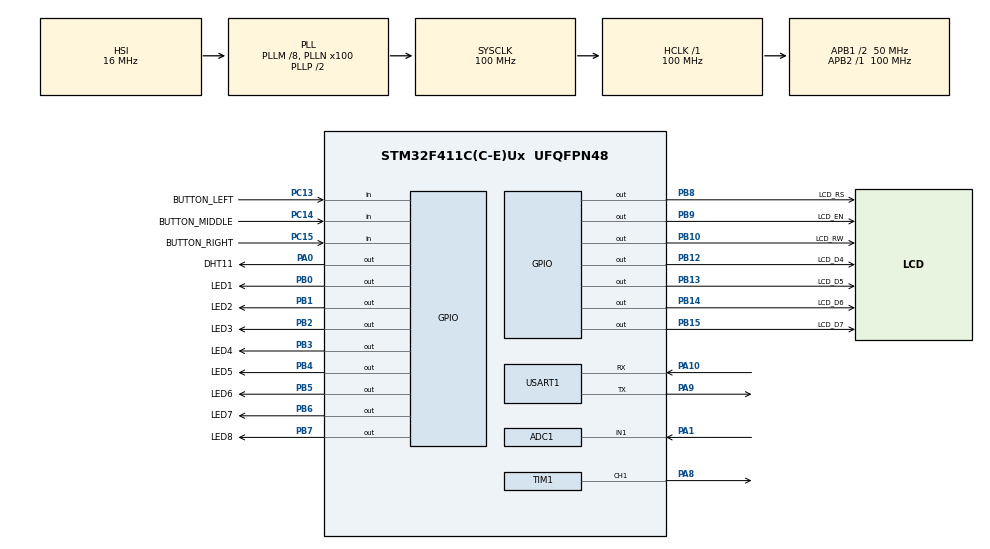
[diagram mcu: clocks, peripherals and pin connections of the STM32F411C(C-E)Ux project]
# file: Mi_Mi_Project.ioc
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ADC1.Channel-0\#ChannelRegularConversion=ADC_CHANNEL_1
ADC1.ContinuousConvMode=ENABLE
ADC1.NbrOfConversionFlag=1
ADC1.Rank-0\#ChannelRegularConversion=1
ADC1.SamplingTime-0\#ChannelRegularConversion=ADC_SAMPLETIME_480CYCLES
ADC1.ScanConvMode=DISABLE
ADC1.master=1
Mcu.Family=STM32F4
Mcu.Name=STM32F411C(C-E)Ux
Mcu.Package=UFQFPN48
NVIC.PriorityGroup=NVIC_PRIORITYGROUP_4
NVIC.USART1_IRQn=true\:1\:0\:true\:false\:true\:true\:true\:true
PA0-WKUP.GPIO_Label=DHT11
PA0-WKUP.GPIO_ModeDefaultOutputPP=GPIO_MODE_OUTPUT_PP
PA0-WKUP.GPIO_PuPd=GPIO_NOPULL
PA0-WKUP.GPIO_Speed=GPIO_SPEED_FREQ_MEDIUM
PA0-WKUP.PinState=GPIO_PIN_RESET
PA0-WKUP.Signal=GPIO_Output
PA1.Signal=ADCx_IN1
PA10.Mode=Asynchronous
PA10.Signal=USART1_RX
PA13.Mode=Serial_Wire
PA13.Signal=SYS_JTMS-SWDIO
PA14.Mode=Serial_Wire
PA14.Signal=SYS_JTCK-SWCLK
PA8.Signal=S_TIM1_CH1
PA9.Mode=Asynchronous
PA9.Signal=USART1_TX
PB0.GPIO_Label=LED1
PB0.GPIO_ModeDefaultOutputPP=GPIO_MODE_OUTPUT_PP
PB0.GPIO_PuPd=GPIO_NOPULL
PB0.GPIO_Speed=GPIO_SPEED_FREQ_MEDIUM
PB0.PinState=GPIO_PIN_RESET
PB0.Signal=GPIO_Output
PB1.GPIO_Label=LED2
PB1.GPIO_ModeDefaultOutputPP=GPIO_MODE_OUTPUT_PP
PB1.GPIO_PuPd=GPIO_NOPULL
PB1.GPIO_Speed=GPIO_SPEED_FREQ_MEDIUM
PB1.PinState=GPIO_PIN_RESET
PB1.Signal=GPIO_Output
PB10.GPIO_Label=LCD_RW
PB10.GPIO_ModeDefaultOutputPP=GPIO_MODE_OUTPUT_PP
PB10.GPIO_PuPd=GPIO_NOPULL
PB10.GPIO_Speed=GPIO_SPEED_FREQ_MEDIUM
PB10.PinState=GPIO_PIN_RESET
PB10.Signal=GPIO_Output
PB12.GPIO_Label=LCD_D4
PB12.GPIO_ModeDefaultOutputPP=GPIO_MODE_OUTPUT_PP
PB12.GPIO_PuPd=GPIO_NOPULL
PB12.GPIO_Speed=GPIO_SPEED_FREQ_MEDIUM
PB12.PinState=GPIO_PIN_RESET
PB12.Signal=GPIO_Output
PB13.GPIO_Label=LCD_D5
PB13.GPIO_ModeDefaultOutputPP=GPIO_MODE_OUTPUT_PP
PB13.GPIO_PuPd=GPIO_NOPULL
PB13.GPIO_Speed=GPIO_SPEED_FREQ_MEDIUM
PB13.PinState=GPIO_PIN_RESET
PB13.Signal=GPIO_Output
PB14.GPIO_Label=LCD_D6
PB14.GPIO_ModeDefaultOutputPP=GPIO_MODE_OUTPUT_PP
PB14.GPIO_PuPd=GPIO_NOPULL
PB14.GPIO_Speed=GPIO_SPEED_FREQ_MEDIUM
PB14.PinState=GPIO_PIN_RESET
PB14.Signal=GPIO_Output
PB15.GPIO_Label=LCD_D7
PB15.GPIO_ModeDefaultOutputPP=GPIO_MODE_OUTPUT_PP
PB15.GPIO_PuPd=GPIO_NOPULL
PB15.GPIO_Speed=GPIO_SPEED_FREQ_MEDIUM
PB15.PinState=GPIO_PIN_RESET
PB15.Signal=GPIO_Output
PB2.GPIO_Label=LED3
PB2.GPIO_ModeDefaultOutputPP=GPIO_MODE_OUTPUT_PP
PB2.GPIO_PuPd=GPIO_NOPULL
PB2.GPIO_Speed=GPIO_SPEED_FREQ_MEDIUM
PB2.PinState=GPIO_PIN_RESET
PB2.Signal=GPIO_Output
PB3.GPIO_Label=LED4
PB3.GPIO_ModeDefaultOutputPP=GPIO_MODE_OUTPUT_PP
PB3.GPIO_PuPd=GPIO_NOPULL
PB3.GPIO_Speed=GPIO_SPEED_FREQ_MEDIUM
PB3.PinState=GPIO_PIN_RESET
PB3.Signal=GPIO_Output
PB4.GPIO_Label=LED5
PB4.GPIO_ModeDefaultOutputPP=GPIO_MODE_OUTPUT_PP
PB4.GPIO_PuPd=GPIO_NOPULL
PB4.GPIO_Speed=GPIO_SPEED_FREQ_MEDIUM
PB4.PinState=GPIO_PIN_RESET
PB4.Signal=GPIO_Output
PB5.GPIO_Label=LED6
PB5.GPIO_ModeDefaultOutputPP=GPIO_MODE_OUTPUT_PP
PB5.GPIO_PuPd=GPIO_NOPULL
PB5.GPIO_Speed=GPIO_SPEED_FREQ_MEDIUM
PB5.PinState=GPIO_PIN_RESET
PB5.Signal=GPIO_Output
PB6.GPIO_Label=LED7
PB6.GPIO_ModeDefaultOutputPP=GPIO_MODE_OUTPUT_PP
PB6.GPIO_PuPd=GPIO_NOPULL
PB6.GPIO_Speed=GPIO_SPEED_FREQ_MEDIUM
PB6.PinState=GPIO_PIN_RESET
PB6.Signal=GPIO_Output
PB7.GPIO_Label=LED8
PB7.GPIO_ModeDefaultOutputPP=GPIO_MODE_OUTPUT_PP
PB7.GPIO_PuPd=GPIO_NOPULL
PB7.GPIO_Speed=GPIO_SPEED_FREQ_MEDIUM
PB7.PinState=GPIO_PIN_RESET
PB7.Signal=GPIO_Output
PB8.GPIO_Label=LCD_RS
PB8.GPIO_ModeDefaultOutputPP=GPIO_MODE_OUTPUT_PP
PB8.GPIO_PuPd=GPIO_NOPULL
PB8.GPIO_Speed=GPIO_SPEED_FREQ_MEDIUM
PB8.PinState=GPIO_PIN_RESET
PB8.Signal=GPIO_Output
PB9.GPIO_Label=LCD_EN
PB9.GPIO_ModeDefaultOutputPP=GPIO_MODE_OUTPUT_PP
PB9.GPIO_PuPd=GPIO_NOPULL
PB9.GPIO_Speed=GPIO_SPEED_FREQ_MEDIUM
PB9.PinState=GPIO_PIN_RESET
PB9.Signal=GPIO_Output
PC13-ANTI_TAMP.GPIO_Label=BUTTON_LEFT
PC13-ANTI_TAMP.GPIO_Mode=GPIO_MODE_INPUT
PC13-ANTI_TAMP.GPIO_PuPd=GPIO_PULLUP
PC13-ANTI_TAMP.Signal=GPIO_Input
PC14-OSC32_IN.GPIO_Label=BUTTON_MIDDLE
PC14-OSC32_IN.GPIO_Mode=GPIO_MODE_INPUT
PC14-OSC32_IN.GPIO_PuPd=GPIO_PULLUP
PC14-OSC32_IN.Signal=GPIO_Input
PC15-OSC32_OUT.GPIO_Label=BUTTON_RIGHT
PC15-OSC32_OUT.GPIO_Mode=GPIO_MODE_INPUT
PC15-OSC32_OUT.GPIO_PuPd=GPIO_PULLUP
PC15-OSC32_OUT.Signal=GPIO_Input
PH0\ -\ OSC_IN.Mode=HSE-External-Oscillator
PH0\ -\ OSC_IN.Signal=RCC_OSC_IN
PH1\ -\ OSC_OUT.Mode=HSE-External-Oscillator
PH1\ -\ OSC_OUT.Signal=RCC_OSC_OUT
ProjectManager.HeapSize=0x200
ProjectManager.StackSize=0x400
ProjectManager.TargetToolchain=STM32CubeIDE
RCC.48MHZClocksFreq_Value=50000000
RCC.AHBFreq_Value=100000000
RCC.APB1CLKDivider=RCC_HCLK_DIV2
RCC.APB1Freq_Value=50000000
RCC.APB1TimFreq_Value=100000000
RCC.APB2Freq_Value=100000000
RCC.APB2TimFreq_Value=100000000
RCC.CortexFreq_Value=100000000
RCC.HCLKFreq_Value=100000000
RCC.HSE_VALUE=25000000
RCC.HSI_VALUE=16000000
RCC.LSE_VALUE=32768
RCC.PLLM=8
RCC.PLLN=100
RCC.SYSCLKFreq_VALUE=100000000
RCC.SYSCLKSource=RCC_SYSCLKSOURCE_PLLCLK
RCC.VCOOutputFreq_Value=200000000
SH.ADCx_IN1.0=ADC1_IN1,IN1
SH.S_TIM1_CH1.0=TIM1_CH1,PWM Generation1 CH1
TIM1.Channel-PWM\ Generation1\ CH1=TIM_CHANNEL_1
TIM1.Period=4999
TIM1.Prescaler=0
TIM3.Prescaler=99
USART1.VirtualMode=VM_ASYNC
VP_TIM3_VS_ClockSourceINT.Mode=Internal
board=custom

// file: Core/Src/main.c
/* USER CODE BEGIN Header */
/**
 ******************************************************************************
 * @file           : main.c
 * @brief          : Main program body
 ******************************************************************************
 * @attention
 *
 * Copyright (c) 2025 STMicroelectronics.
 * All rights reserved.
 *
 * This software is licensed under terms that can be found in the LICENSE file
 * in the root directory of this software component.
 * If no LICENSE file comes with this software, it is provided AS-IS.
 *
 ******************************************************************************
 */
/* USER CODE END Header */
#include "main.h"

/* USER CODE BEGIN Includes */
#include "uart.h"
#include "lcd_no_i2c.h"
#include "button.h"
#include "dht11.h"
#include "fan.h"
#include "led.h"
#include "lm35.h"
/* USER CODE END Includes */

ADC_HandleTypeDef hadc1;

TIM_HandleTypeDef htim1;
TIM_HandleTypeDef htim3;

UART_HandleTypeDef huart1;

/* USER CODE BEGIN PV */
LM35_Typedef lm35;
LCD_Typedef lcd = {
		.lcd_port = LCD_PORT,
		.en = LCD_EN_Pin,
		.rs = LCD_RS_Pin,
		.rw = LCD_RW_Pin,
		.d4 = LCD_D4_Pin,
		.d5 = LCD_D5_Pin,
		.d6 = LCD_D6_Pin,
		.d7 = LCD_D7_Pin
};
/* USER CODE END PV */

void SystemClock_Config(void);
static void MX_GPIO_Init(void);
static void MX_TIM1_Init(void);
static void MX_TIM3_Init(void);
static void MX_USART1_UART_Init(void);
static void MX_ADC1_Init(void);

/* USER CODE BEGIN 0 */
typedef enum{
	CHANGE_TEMP_SET,
	CHANGE_SPEED_FAN,
	IDLE
} Mode_Changing;

float fan_speed = 0;
Mode_Changing mode = IDLE;
float temperature_set = 0;
bool flag_display_data = false;
bool is_manual_control = false;
uint32_t time_delay_dht11 = 0;
float temperature_current = 0;
float hum_current = 0;

void set_temperature(float value){
	temperature_set = value;
}

void display_mode(){
	static uint32_t time_blink = 0;
	if(mode != IDLE && HAL_GetTick() - time_blink >= 500){
		switch(mode){
		case CHANGE_SPEED_FAN:
			lcd_gotoxy(&lcd, 12, 1);
			if(flag_display_data) lcd_sendstring(&lcd, "    ");
			else lcd_sendnumber(&lcd, fan_speed);
			break;
		case CHANGE_TEMP_SET:
			lcd_gotoxy(&lcd, 6, 1);
			if(flag_display_data) lcd_sendstring(&lcd, "    ");
			else lcd_sendnumber(&lcd, temperature_set);
			break;
		default:
			break;
		}
		flag_display_data = !flag_display_data;
		time_blink = HAL_GetTick();
		return;
	}
	lcd_gotoxy(&lcd, 12, 1);
	lcd_sendnumber(&lcd, fan_speed);
	lcd_gotoxy(&lcd, 6, 1);
	lcd_sendnumber(&lcd, temperature_set);
}

void process(void){
	uint16_t button = Button_Pressing();
	if(button != 0){
		switch(mode){
		case IDLE:
			if(button == BUTTON_MIDDLE_Pin) mode = CHANGE_TEMP_SET;
			break;
		case CHANGE_TEMP_SET:
			if(button == BUTTON_LEFT_Pin) temperature_set -= 0.5f;
			if(button == BUTTON_RIGHT_Pin) temperature_set += 0.5f;
			if(button == BUTTON_MIDDLE_Pin){
				mode = CHANGE_SPEED_FAN;
				flag_display_data = false;
			}
			break;
		case CHANGE_SPEED_FAN:
			if(button == BUTTON_LEFT_Pin) {
				is_manual_control = true;
				fan_speed -= 0.5f;
				if(fan_speed < 0) fan_speed = 0;
			}
			if(button == BUTTON_RIGHT_Pin) {
				is_manual_control = true;
				fan_speed += 0.5f;
				if(fan_speed > 100) fan_speed = 100;
			}
			Fan_Control(fan_speed);
			if(button == BUTTON_MIDDLE_Pin){
				mode = IDLE;
				flag_display_data = false;
			}
			break;
		default:
			break;
		}
	}
}
void display(){
	lcd_gotoxy(&lcd, 0, 0); lcd_sendstring(&lcd, "TEMP: "); lcd_sendnumber(&lcd, temperature_current); lcd_sendstring(&lcd, "C ");
	lcd_sendstring(&lcd, (fan_speed == 0) ? "OFF " : ((fan_speed < 40) ? "LOW " : ((fan_speed >= 40 && fan_speed <= 75) ? "MED " : "FAST")));
	lcd_gotoxy(&lcd, 0, 1); lcd_sendstring(&lcd, "SET: ");
	display_mode();
}
/* USER CODE END 0 */

int main(void)
{

  /* MCU Configuration--------------------------------------------------------*/

  /* Reset of all peripherals, Initializes the Flash interface and the Systick. */
  HAL_Init();

  /* Configure the system clock */
  SystemClock_Config();

  /* Initialize all configured peripherals */
  MX_GPIO_Init();
  MX_TIM1_Init();
  MX_TIM3_Init();
  MX_USART1_UART_Init();
  MX_ADC1_Init();
  /* USER CODE BEGIN 2 */
	HAL_TIM_Base_Start(&htim3);
	Led_Init();
	Fan_Init(&htim1, TIM_CHANNEL_1);
	uart_init(&huart1);
	lcd_init(&lcd);
	lm35_init(&lm35, &hadc1);
  /* USER CODE END 2 */

  /* Infinite loop */
  /* USER CODE BEGIN WHILE */
	while (1)
	{
		if(uart_handle()) is_manual_control = true;
		process();
		lm35_getTemp(&lm35);
		temperature_current = lm35.temp;
		if(is_manual_control){
			if(temperature_current < temperature_set)
				is_manual_control = false;
		}
		if(!is_manual_control){
			float diff_temp = temperature_current - temperature_set;
			fan_speed = (diff_temp > 0) ? (diff_temp * 10) : 0;
			if(fan_speed > 100) fan_speed = 100;
			Fan_Control(fan_speed);
		}
		//		}
		display();
    /* USER CODE END WHILE */

	}
}

void SystemClock_Config(void)
{
  RCC_OscInitTypeDef RCC_OscInitStruct = {0};
  RCC_ClkInitTypeDef RCC_ClkInitStruct = {0};

  /** Configure the main internal regulator output voltage
  */
  __HAL_RCC_PWR_CLK_ENABLE();
  __HAL_PWR_VOLTAGESCALING_CONFIG(PWR_REGULATOR_VOLTAGE_SCALE1);

  /** Initializes the RCC Oscillators according to the specified parameters
  * in the RCC_OscInitTypeDef structure.
  */
  RCC_OscInitStruct.OscillatorType = RCC_OSCILLATORTYPE_HSI;
  RCC_OscInitStruct.HSIState = RCC_HSI_ON;
  RCC_OscInitStruct.HSICalibrationValue = RCC_HSICALIBRATION_DEFAULT;
  RCC_OscInitStruct.PLL.PLLState = RCC_PLL_ON;
  RCC_OscInitStruct.PLL.PLLSource = RCC_PLLSOURCE_HSI;
  RCC_OscInitStruct.PLL.PLLM = 8;
  RCC_OscInitStruct.PLL.PLLN = 100;
  RCC_OscInitStruct.PLL.PLLP = RCC_PLLP_DIV2;
  RCC_OscInitStruct.PLL.PLLQ = 4;
  if (HAL_RCC_OscConfig(&RCC_OscInitStruct) != HAL_OK)
  {
    Error_Handler();
  }

  /** Initializes the CPU, AHB and APB buses clocks
  */
  RCC_ClkInitStruct.ClockType = RCC_CLOCKTYPE_HCLK|RCC_CLOCKTYPE_SYSCLK
                              |RCC_CLOCKTYPE_PCLK1|RCC_CLOCKTYPE_PCLK2;
  RCC_ClkInitStruct.SYSCLKSource = RCC_SYSCLKSOURCE_PLLCLK;
  RCC_ClkInitStruct.AHBCLKDivider = RCC_SYSCLK_DIV1;
  RCC_ClkInitStruct.APB1CLKDivider = RCC_HCLK_DIV2;
  RCC_ClkInitStruct.APB2CLKDivider = RCC_HCLK_DIV1;

  if (HAL_RCC_ClockConfig(&RCC_ClkInitStruct, FLASH_LATENCY_3) != HAL_OK)
  {
    Error_Handler();
  }
}

static void MX_ADC1_Init(void)
{

  ADC_ChannelConfTypeDef sConfig = {0};

  /** Configure the global features of the ADC (Clock, Resolution, Data Alignment and number of conversion)
  */
  hadc1.Instance = ADC1;
  hadc1.Init.ClockPrescaler = ADC_CLOCK_SYNC_PCLK_DIV4;
  hadc1.Init.Resolution = ADC_RESOLUTION_12B;
  hadc1.Init.ScanConvMode = DISABLE;
  hadc1.Init.ContinuousConvMode = ENABLE;
  hadc1.Init.DiscontinuousConvMode = DISABLE;
  hadc1.Init.ExternalTrigConvEdge = ADC_EXTERNALTRIGCONVEDGE_NONE;
  hadc1.Init.ExternalTrigConv = ADC_SOFTWARE_START;
  hadc1.Init.DataAlign = ADC_DATAALIGN_RIGHT;
  hadc1.Init.NbrOfConversion = 1;
  hadc1.Init.DMAContinuousRequests = DISABLE;
  hadc1.Init.EOCSelection = ADC_EOC_SINGLE_CONV;
  if (HAL_ADC_Init(&hadc1) != HAL_OK)
  {
    Error_Handler();
  }

  /** Configure for the selected ADC regular channel its corresponding rank in the sequencer and its sample time.
  */
  sConfig.Channel = ADC_CHANNEL_1;
  sConfig.Rank = 1;
  sConfig.SamplingTime = ADC_SAMPLETIME_480CYCLES;
  if (HAL_ADC_ConfigChannel(&hadc1, &sConfig) != HAL_OK)
  {
    Error_Handler();
  }

}

static void MX_TIM1_Init(void)
{

  TIM_MasterConfigTypeDef sMasterConfig = {0};
  TIM_OC_InitTypeDef sConfigOC = {0};
  TIM_BreakDeadTimeConfigTypeDef sBreakDeadTimeConfig = {0};

  htim1.Instance = TIM1;
  htim1.Init.Prescaler = 0;
  htim1.Init.CounterMode = TIM_COUNTERMODE_UP;
  htim1.Init.Period = 4999;
  htim1.Init.ClockDivision = TIM_CLOCKDIVISION_DIV1;
  htim1.Init.RepetitionCounter = 0;
  htim1.Init.AutoReloadPreload = TIM_AUTORELOAD_PRELOAD_DISABLE;
  if (HAL_TIM_PWM_Init(&htim1) != HAL_OK)
  {
    Error_Handler();
  }
  sMasterConfig.MasterOutputTrigger = TIM_TRGO_RESET;
  sMasterConfig.MasterSlaveMode = TIM_MASTERSLAVEMODE_DISABLE;
  if (HAL_TIMEx_MasterConfigSynchronization(&htim1, &sMasterConfig) != HAL_OK)
  {
    Error_Handler();
  }
  sConfigOC.OCMode = TIM_OCMODE_PWM1;
  sConfigOC.Pulse = 0;
  sConfigOC.OCPolarity = TIM_OCPOLARITY_HIGH;
  sConfigOC.OCNPolarity = TIM_OCNPOLARITY_HIGH;
  sConfigOC.OCFastMode = TIM_OCFAST_DISABLE;
  sConfigOC.OCIdleState = TIM_OCIDLESTATE_RESET;
  sConfigOC.OCNIdleState = TIM_OCNIDLESTATE_RESET;
  if (HAL_TIM_PWM_ConfigChannel(&htim1, &sConfigOC, TIM_CHANNEL_1) != HAL_OK)
  {
    Error_Handler();
  }
  sBreakDeadTimeConfig.OffStateRunMode = TIM_OSSR_DISABLE;
  sBreakDeadTimeConfig.OffStateIDLEMode = TIM_OSSI_DISABLE;
  sBreakDeadTimeConfig.LockLevel = TIM_LOCKLEVEL_OFF;
  sBreakDeadTimeConfig.DeadTime = 0;
  sBreakDeadTimeConfig.BreakState = TIM_BREAK_DISABLE;
  sBreakDeadTimeConfig.BreakPolarity = TIM_BREAKPOLARITY_HIGH;
  sBreakDeadTimeConfig.AutomaticOutput = TIM_AUTOMATICOUTPUT_DISABLE;
  if (HAL_TIMEx_ConfigBreakDeadTime(&htim1, &sBreakDeadTimeConfig) != HAL_OK)
  {
    Error_Handler();
  }
  HAL_TIM_MspPostInit(&htim1);

}

static void MX_TIM3_Init(void)
{

  TIM_ClockConfigTypeDef sClockSourceConfig = {0};
  TIM_MasterConfigTypeDef sMasterConfig = {0};

  htim3.Instance = TIM3;
  htim3.Init.Prescaler = 99;
  htim3.Init.CounterMode = TIM_COUNTERMODE_UP;
  htim3.Init.Period = 65535;
  htim3.Init.ClockDivision = TIM_CLOCKDIVISION_DIV1;
  htim3.Init.AutoReloadPreload = TIM_AUTORELOAD_PRELOAD_DISABLE;
  if (HAL_TIM_Base_Init(&htim3) != HAL_OK)
  {
    Error_Handler();
  }
  sClockSourceConfig.ClockSource = TIM_CLOCKSOURCE_INTERNAL;
  if (HAL_TIM_ConfigClockSource(&htim3, &sClockSourceConfig) != HAL_OK)
  {
    Error_Handler();
  }
  sMasterConfig.MasterOutputTrigger = TIM_TRGO_RESET;
  sMasterConfig.MasterSlaveMode = TIM_MASTERSLAVEMODE_DISABLE;
  if (HAL_TIMEx_MasterConfigSynchronization(&htim3, &sMasterConfig) != HAL_OK)
  {
    Error_Handler();
  }

}

static void MX_USART1_UART_Init(void)
{

  huart1.Instance = USART1;
  huart1.Init.BaudRate = 115200;
  huart1.Init.WordLength = UART_WORDLENGTH_8B;
  huart1.Init.StopBits = UART_STOPBITS_1;
  huart1.Init.Parity = UART_PARITY_NONE;
  huart1.Init.Mode = UART_MODE_TX_RX;
  huart1.Init.HwFlowCtl = UART_HWCONTROL_NONE;
  huart1.Init.OverSampling = UART_OVERSAMPLING_16;
  if (HAL_UART_Init(&huart1) != HAL_OK)
  {
    Error_Handler();
  }

}

static void MX_GPIO_Init(void)
{
  GPIO_InitTypeDef GPIO_InitStruct = {0};

  /* GPIO Ports Clock Enable */
  __HAL_RCC_GPIOC_CLK_ENABLE();
  __HAL_RCC_GPIOH_CLK_ENABLE();
  __HAL_RCC_GPIOA_CLK_ENABLE();
  __HAL_RCC_GPIOB_CLK_ENABLE();

  /*Configure GPIO pin Output Level */
  HAL_GPIO_WritePin(DHT11_GPIO_Port, DHT11_Pin, GPIO_PIN_RESET);

  /*Configure GPIO pin Output Level */
  HAL_GPIO_WritePin(GPIOB, LED1_Pin|LED2_Pin|LED3_Pin|LCD_RW_Pin
                          |LCD_D4_Pin|LCD_D5_Pin|LCD_D6_Pin|LCD_D7_Pin
                          |LED4_Pin|LED5_Pin|LED6_Pin|LED7_Pin
                          |LED8_Pin|LCD_RS_Pin|LCD_EN_Pin, GPIO_PIN_RESET);

  /*Configure GPIO pins : BUTTON_LEFT_Pin BUTTON_MIDDLE_Pin BUTTON_RIGHT_Pin */
  GPIO_InitStruct.Pin = BUTTON_LEFT_Pin|BUTTON_MIDDLE_Pin|BUTTON_RIGHT_Pin;
  GPIO_InitStruct.Mode = GPIO_MODE_INPUT;
  GPIO_InitStruct.Pull = GPIO_PULLUP;
  HAL_GPIO_Init(GPIOC, &GPIO_InitStruct);

  /*Configure GPIO pin : DHT11_Pin */
  GPIO_InitStruct.Pin = DHT11_Pin;
  GPIO_InitStruct.Mode = GPIO_MODE_OUTPUT_PP;
  GPIO_InitStruct.Pull = GPIO_NOPULL;
  GPIO_InitStruct.Speed = GPIO_SPEED_FREQ_MEDIUM;
  HAL_GPIO_Init(DHT11_GPIO_Port, &GPIO_InitStruct);

  /*Configure GPIO pins : LED1_Pin LED2_Pin LED3_Pin LCD_RW_Pin
                           LCD_D4_Pin LCD_D5_Pin LCD_D6_Pin LCD_D7_Pin
                           LED4_Pin LED5_Pin LED6_Pin LED7_Pin
                           LED8_Pin LCD_RS_Pin LCD_EN_Pin */
  GPIO_InitStruct.Pin = LED1_Pin|LED2_Pin|LED3_Pin|LCD_RW_Pin
                          |LCD_D4_Pin|LCD_D5_Pin|LCD_D6_Pin|LCD_D7_Pin
                          |LED4_Pin|LED5_Pin|LED6_Pin|LED7_Pin
                          |LED8_Pin|LCD_RS_Pin|LCD_EN_Pin;
  GPIO_InitStruct.Mode = GPIO_MODE_OUTPUT_PP;
  GPIO_InitStruct.Pull = GPIO_NOPULL;
  GPIO_InitStruct.Speed = GPIO_SPEED_FREQ_MEDIUM;
  HAL_GPIO_Init(GPIOB, &GPIO_InitStruct);

}

void Error_Handler(void)
{
	__disable_irq();
	while (1)
	{
	}
}
